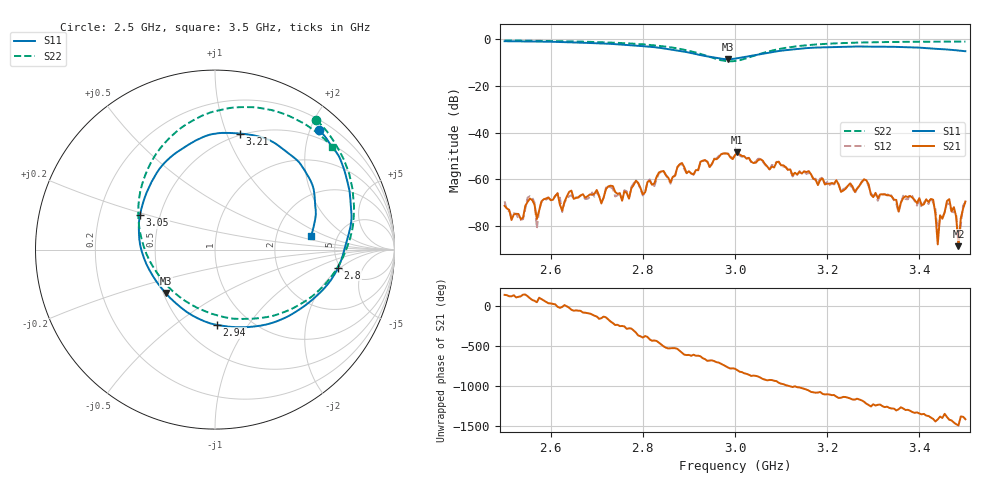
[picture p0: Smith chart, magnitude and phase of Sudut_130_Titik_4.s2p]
# Hz S RI R 50
! CMT, C1220, 16058040, 17.2.0/1
! Date: 15/08/2018 10:33:02
! Data: Format (Calibration Info)
! Freq  S11: Re/Im (F2)  S21: Re/Im (F2)  S12: Re/Im (F2)  S22: Re/Im (F2)
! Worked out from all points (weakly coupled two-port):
!   201 points, 2.5 GHz to 3.5 GHz, reference 50 ohm
!   highest |S21| = -48.38 dB at 3.005 GHz (marker M1); lowest = -88.4 dB at 3.485 GHz (marker M2)
!   lowest |S11| = -8.7 dB at 2.985 GHz (marker M3), VSWR 2.16, Z = 25.7 - j14.3 ohm
!   |S11| at or under -10 dB: nowhere
!   |S22| runs from -9.7 to -0.8 dB; largest |S21 - S12| = 0.00024
!   S11 on the Smith chart (normalised r, x): 2.5 GHz: 0.35, +2.15; 2.8 GHz: 4.78, -1.84; 2.94 GHz: 0.71, -0.73; 3.05 GHz: 0.39, +0.19; 3.21 GHz: 0.49, +1.12; 3.5 GHz: 3.19, +0.70
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2.5e9  0.5806 0.6663  -0.000223 0.000161  -0.000277 0.000204  0.5653 0.7222
2.535e9  0.6258 0.6117  -8.27e-05 0.000117  -7.07e-05 0.000118  0.6045 0.68
2.56e9  0.6518 0.5737  6.49e-05 0.000358  0.000119 0.000395  0.6319 0.6476
2.57e9  0.6658 0.5563  8.93e-05 0.000112  4.99e-05 7.69e-05  0.6424 0.6322
2.58e9  0.6782 0.539  -1.54e-06 0.000343  4.75e-05 0.000327  0.653 0.6169
2.67e9  0.7475 0.3365  9.9e-05 -0.000474  5.39e-05 -0.000443  0.7371 0.4523
2.8e9  0.686 -0.1001  0.000404 -0.000263  0.000403 -0.000215  0.7552 0.072
2.835e9  0.6023 -0.2228  -0.000207 -0.0014  -0.000172 -0.00133  0.7013 -0.0655
2.94e9  0.0101 -0.4198  0.00198 0.00134  0.00196 0.00138  0.1773 -0.3859
2.985e9  -0.2754 -0.2416  0.00227 -0.00271  0.00236 -0.00269  -0.1695 -0.2839
3e9  -0.3457 -0.148  0.00138 -0.00298  0.00125 -0.00304  -0.268 -0.1996
3.005e9  -0.3647 -0.1151  0.000479 -0.00378  0.000342 -0.00358  -0.2961 -0.1661
3.05e9  -0.4181 0.1911  -0.00244 -0.000788  -0.00265 -0.000796  -0.4266 0.1738
3.17e9  -0.0135 0.6438  0.00104 -2.77e-05  0.00102 0.000109  -0.0789 0.7428
3.21e9  0.1401 0.6465  0.000672 -0.000506  0.000635 -0.000507  0.0677 0.7859
3.335e9  0.4692 0.4858  -0.000437 0.000143  -0.00049 0.000156  0.4034 0.7483
3.355e9  0.4996 0.4413  -0.000171 0.000119  -0.000171 9.48e-05  0.4415 0.731
3.425e9  0.5569 0.2699  0.000289 0.000253  0.000296 0.000291  0.5575 0.6605
3.44e9  0.5599 0.2298  3.95e-05 1.24e-05  6.09e-05 4.29e-05  0.5791 0.6422
3.465e9  0.5584 0.1699  0.000371 9.01e-05  0.000285 0.000102  0.6109 0.6154
3.485e9  0.5473 0.118  1.99e-05 -3.23e-05  -2.73e-05 -3.63e-05  0.6343 0.591
3.5e9  0.5352 0.0779  0.000318 0.000119  0.000299 0.000136  0.6514 0.574
